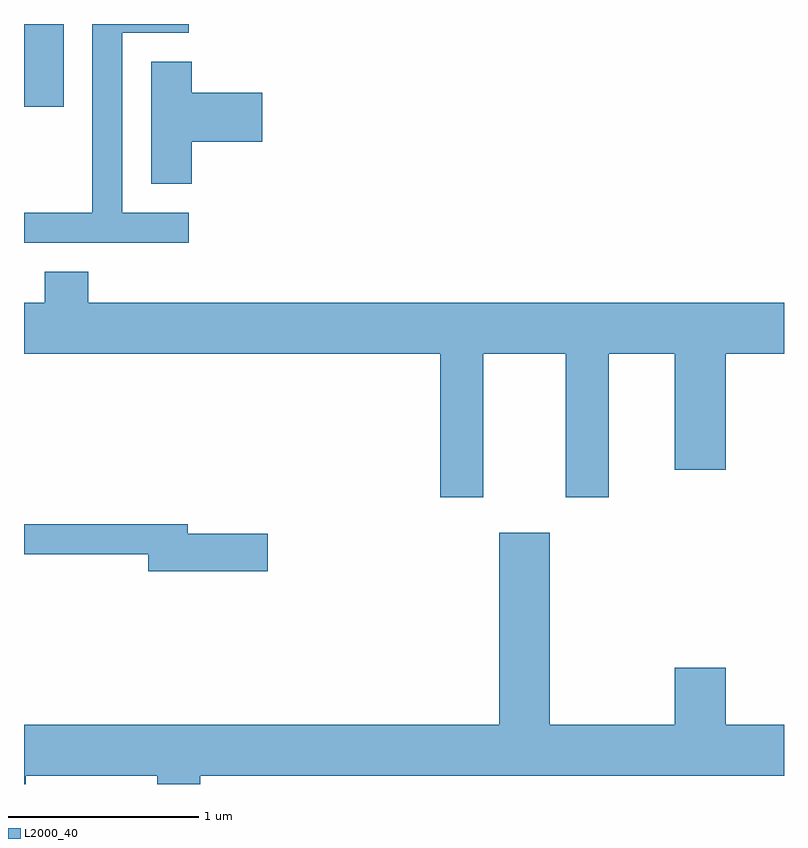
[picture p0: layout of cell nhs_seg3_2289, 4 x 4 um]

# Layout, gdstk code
import gdstk
lib = gdstk.Library(unit=1e-6, precision=1e-09)
def R(c, l, rs):  # rectangles x0, y0, x1, y1
    for r in rs: c.add(gdstk.rectangle(r[:2], r[2:], *l))
def P(c, l, *ps):  # polygons
    for p in ps: c.add(gdstk.Polygon(p, *l))
L2000_40 = (2000, 40)

nhs_seg3_2289 = lib.new_cell('nhs_seg3_2289')
R(nhs_seg3_2289, L2000_40, [(251.611,1209.456,251.819,1209.892)])
P(nhs_seg3_2289, L2000_40, [(252.478,1208.899),(252.129,1208.899),(252.129,1209.846),(252.478,1209.846),(252.478,1209.892),(251.971,1209.892),(251.971,1208.899),(251.611,1208.899),(251.611,1208.741),(252.478,1208.741)],
  [(252.494,1209.271),(252.864,1209.271),(252.864,1209.529),(252.494,1209.529),(252.494,1209.694),(252.281,1209.694),(252.281,1209.051),(252.494,1209.051)],
  [(254.029,1208.156),(254.461,1208.156),(254.461,1207.401),(254.689,1207.401),(254.689,1208.156),(255.036,1208.156),(255.036,1207.546),(255.304,1207.546),(255.304,1208.156),(255.611,1208.156),(255.611,1208.424),(251.949,1208.424),(251.949,1208.589),(251.721,1208.589),(251.721,1208.424),(251.611,1208.424),(251.611,1208.156),(253.801,1208.156),(253.801,1207.401),(254.029,1207.401)],
  [(252.894,1207.209),(252.474,1207.209),(252.474,1207.259),(251.611,1207.259),(251.611,1207.101),(252.266,1207.101),(252.266,1207.011),(252.894,1207.011)],
  [(251.619,1205.936),(252.311,1205.936),(252.311,1205.892),(252.539,1205.892),(252.539,1205.936),(255.611,1205.936),(255.611,1206.204),(255.304,1206.204),(255.304,1206.504),(255.036,1206.504),(255.036,1206.204),(254.379,1206.204),(254.379,1207.214),(254.111,1207.214),(254.111,1206.204),(251.611,1206.204),(251.611,1205.892),(251.619,1205.892)])

lib.write_gds('nhs_seg3_2289.gds')
